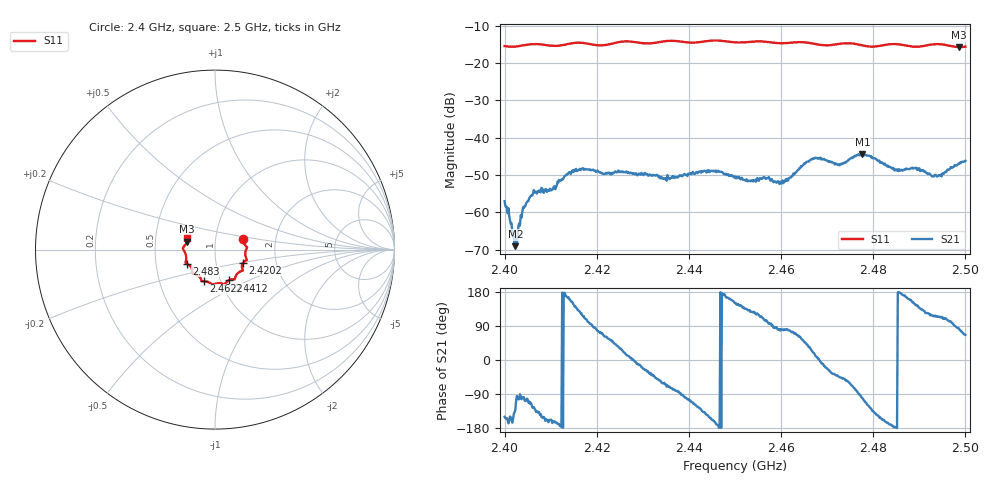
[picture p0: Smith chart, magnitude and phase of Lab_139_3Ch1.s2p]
# Hz S RI R 50
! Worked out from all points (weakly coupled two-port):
!   601 points, 2.4 GHz to 2.5 GHz, reference 50 ohm
!   highest |S21| = -44.41 dB at 2.4777 GHz (marker M1); lowest = -69.1 dB at 2.4023 GHz (marker M2)
!   lowest |S11| = -15.8 dB at 2.4987 GHz (marker M3), VSWR 1.39, Z = 36.3 + j3.3 ohm
!   |S11| at or under -10 dB: start of sweep to end of sweep
!   S12 and S22 are empty: the file has one direction only
!   S11 on the Smith chart (normalised r, x): 2.4 GHz: 1.36, +0.17; 2.4202 GHz: 1.35, -0.20; 2.4412 GHz: 1.09, -0.39; 2.4622 GHz: 0.83, -0.30; 2.483 GHz: 0.72, -0.12; 2.5 GHz: 0.73, +0.09
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2.4e9  0.1573 0.0603  -0.00122 -0.000714  0 0  0 0
2.402333e9  0.1626 0.0335  -0.000231 -0.000266  0 0  0 0
2.404e9  0.1711 0.0205  -0.00016 -0.00116  0 0  0 0
2.406e9  0.1787 0.0132  -0.000961 -0.00137  0 0  0 0
2.4105e9  0.1691 -0.0131  -0.00195 -0.000632  0 0  0 0
2.413667e9  0.1734 -0.0462  -0.00314 0.000828  0 0  0 0
2.416667e9  0.1771 -0.0587  -0.00209 0.00318  0 0  0 0
2.420167e9  0.1568 -0.0725  0.00087 0.00353  0 0  0 0
2.433333e9  0.1135 -0.1519  0.0019 -0.00233  0 0  0 0
2.441167e9  0.0758 -0.1718  -0.00142 -0.00296  0 0  0 0
2.445833e9  0.0517 -0.1937  -0.00356 -0.000761  0 0  0 0
2.45e9  0.0267 -0.1871  -0.00262 0.00152  0 0  0 0
2.46e9  -0.0427 -0.1791  0.000364 0.00243  0 0  0 0
2.462167e9  -0.0624 -0.1766  0.000783 0.00284  0 0  0 0
2.466667e9  -0.0774 -0.1666  0.00473 0.00217  0 0  0 0
2.472667e9  -0.1183 -0.1362  0.00302 -0.00301  0 0  0 0
2.477667e9  -0.1265 -0.1169  -0.00109 -0.00592  0 0  0 0
2.483e9  -0.1585 -0.078  -0.00401 -0.001  0 0  0 0
2.483333e9  -0.1601 -0.0773  -0.00397 -0.000844  0 0  0 0
2.494333e9  -0.1788 0.00865  -0.00125 0.0029  0 0  0 0
2.498667e9  -0.1569 0.0442  0.000712 0.00441  0 0  0 0
2.5e9  -0.1538 0.062  0.00196 0.00449  0 0  0 0
